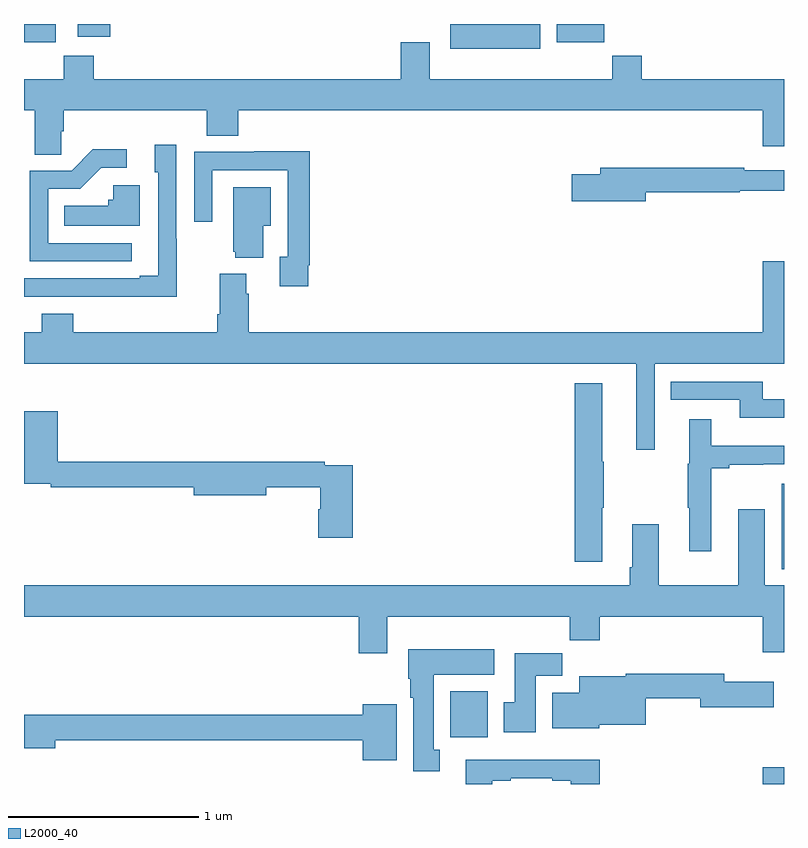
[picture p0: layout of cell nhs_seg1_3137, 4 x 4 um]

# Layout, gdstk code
import gdstk
lib = gdstk.Library(unit=1e-6, precision=1e-09)
def R(c, l, rs):  # rectangles x0, y0, x1, y1
    for r in rs: c.add(gdstk.rectangle(r[:2], r[2:], *l))
def P(c, l, *ps):  # polygons
    for p in ps: c.add(gdstk.Polygon(p, *l))
L2000_40 = (2000, 40)

nhs_seg1_3137 = lib.new_cell('nhs_seg1_3137')
R(nhs_seg1_3137, L2000_40, [(284.888,536.199,285,536.287), (283.244,536.444,283.441,536.686), (284.987,537.329,285,537.778), (283.244,540.068,283.717,540.199), (281,540.102,281.168,540.199), (283.805,540.102,284.054,540.199), (281.282,540.132,281.453,540.199)])
P(nhs_seg1_3137, L2000_40, [(281.196,539.635),(281.21,539.635),(281.21,539.744),(281.963,539.744),(281.963,539.611),(282.128,539.611),(282.128,539.744),(284.888,539.744),(284.888,539.556),(285,539.556),(285,539.908),(284.252,539.908),(284.252,540.032),(284.095,540.032),(284.095,539.908),(283.135,539.908),(283.135,540.103),(282.983,540.103),(282.983,539.908),(281.366,539.908),(281.366,540.032),(281.209,540.032),(281.209,539.908),(281,539.908),(281,539.744),(281.057,539.744),(281.057,539.512),(281.196,539.512)],
  [(281.805,539.069),(281.802,539.069),(281.802,539.563),(281.687,539.563),(281.687,539.418),(281.706,539.418),(281.706,538.873),(281.609,538.873),(281.609,538.86),(281,538.86),(281,538.764),(281.341,538.764),(281.341,538.763),(281.805,538.763)],
  [(281.566,539.046),(281.127,539.046),(281.127,539.331),(281.296,539.331),(281.407,539.442),(281.542,539.442),(281.542,539.54),(281.363,539.54),(281.25,539.427),(281.031,539.427),(281.031,538.95),(281.566,538.95)],
  [(282.496,538.93),(282.503,538.93),(282.503,539.528),(282.211,539.528),(282.211,539.526),(281.895,539.526),(281.895,539.157),(281.991,539.157),(281.991,539.43),(282.387,539.43),(282.387,538.974),(282.347,538.974),(282.347,538.818),(282.496,538.818)],
  [(284.272,539.314),(284.768,539.314),(284.768,539.322),(285,539.322),(285,539.43),(284.792,539.43),(284.792,539.443),(284.033,539.443),(284.033,539.409),(283.884,539.409),(283.884,539.267),(284.272,539.267)],
  [(281.608,539.35),(281.469,539.35),(281.469,539.274),(281.443,539.274),(281.443,539.242),(281.212,539.242),(281.212,539.138),(281.608,539.138)],
  [(282.259,539.138),(282.298,539.138),(282.298,539.341),(282.101,539.341),(282.101,539.001),(282.113,539.001),(282.113,538.97),(282.259,538.97)],
  [(282.182,538.778),(282.169,538.778),(282.169,538.885),(282.029,538.885),(282.029,538.672),(282.017,538.672),(282.017,538.576),(281.258,538.576),(281.258,538.675),(281.093,538.675),(281.093,538.576),(281,538.576),(281,538.412),(284.222,538.412),(284.222,537.957),(284.319,537.957),(284.319,538.412),(285,538.412),(285,538.951),(284.888,538.951),(284.888,538.576),(282.182,538.576)],
  [(285,538.224),(284.887,538.224),(284.887,538.317),(284.404,538.317),(284.404,538.221),(284.768,538.221),(284.768,538.127),(285,538.127)],
  [(284.044,537.652),(284.052,537.652),(284.052,537.896),(284.044,537.896),(284.044,538.309),(283.898,538.309),(283.898,537.369),(284.044,537.369)],
  [(282.731,537.876),(282.584,537.876),(282.584,537.896),(281.177,537.896),(281.177,538.162),(281,538.162),(281,537.78),(281.14,537.78),(281.14,537.76),(281.894,537.76),(281.894,537.718),(282.274,537.718),(282.274,537.76),(282.56,537.76),(282.56,537.645),(282.548,537.645),(282.548,537.495),(282.731,537.495)],
  [(284.617,537.862),(284.713,537.862),(284.713,537.88),(284.891,537.88),(284.891,537.882),(285,537.882),(285,537.979),(284.617,537.979),(284.617,538.12),(284.501,538.12),(284.501,537.885),(284.494,537.885),(284.494,537.652),(284.501,537.652),(284.501,537.423),(284.617,537.423)],
  [(282.913,537.08),(283.873,537.08),(283.873,536.956),(284.03,536.956),(284.03,537.08),(284.888,537.08),(284.888,536.892),(285,536.892),(285,537.244),(284.899,537.244),(284.899,537.646),(284.759,537.646),(284.759,537.244),(284.341,537.244),(284.341,537.565),(284.201,537.565),(284.201,537.34),(284.189,537.34),(284.189,537.244),(281,537.244),(281,537.08),(282.761,537.08),(282.761,536.886),(282.913,536.886)],
  [(283.189,536.378),(283.156,536.378),(283.156,536.774),(283.474,536.774),(283.474,536.908),(283.022,536.908),(283.022,536.754),(283.034,536.754),(283.034,536.654),(283.049,536.654),(283.049,536.265),(283.189,536.265)],
  [(283.693,536.768),(283.832,536.768),(283.832,536.887),(283.583,536.887),(283.583,536.628),(283.526,536.628),(283.526,536.472),(283.693,536.472)],
  [(284.028,536.51),(284.272,536.51),(284.272,536.65),(284.558,536.65),(284.558,536.603),(284.947,536.603),(284.947,536.737),(284.686,536.737),(284.686,536.779),(284.168,536.779),(284.168,536.767),(283.922,536.767),(283.922,536.68),(283.781,536.68),(283.781,536.492),(284.028,536.492)],
  [(282.961,536.62),(282.782,536.62),(282.782,536.564),(281,536.564),(281,536.386),(281.164,536.386),(281.164,536.428),(282.782,536.428),(282.782,536.324),(282.961,536.324)],
  [(283.465,536.217),(283.561,536.217),(283.561,536.229),(283.781,536.229),(283.781,536.217),(283.877,536.217),(283.877,536.199),(284.03,536.199),(284.03,536.326),(283.325,536.326),(283.325,536.199),(283.465,536.199)])

lib.write_gds('nhs_seg1_3137.gds')
